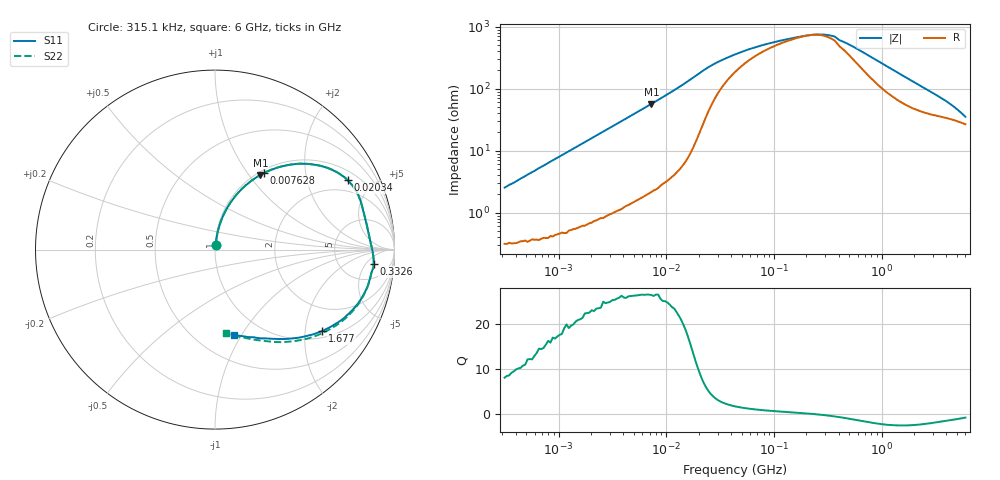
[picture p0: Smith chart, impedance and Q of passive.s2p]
# Hz S DB R 50
! S-Parameters data
! FREQ  dbS11  angS11  dbS21  angS21  dbS12  angS12  dbS22  angS22
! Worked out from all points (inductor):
!   202 points, 315.1 kHz to 6 GHz, reference 50 ohm
!   read as one part in series: L = 1.26 uH near 330.9 kHz
!   highest Q = 26.5 at 7.263 MHz (marker M1), where L = 1.25 uH
!   self-resonance near 219.7 MHz
!   S11 on the Smith chart (normalised r, x): 315.1 kHz: 1.01, +0.05; 7.628 MHz: 1.05, +1.19; 20.34 MHz: 1.40, +3.56; 332.6 MHz: 11, -8; 1.677 GHz: 1.19, -2.46; 6 GHz: 0.75, -0.93
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315074.7  -32.01 81.2  -0.03 -1.5  -0.03 -1.4  -31.97 81.5
761506.4  -24.43 82.7  -0.05 -3.4  -0.05 -3.4  -24.41 82.7
1668588  -17.76 79.9  -0.13 -7.4  -0.12 -7.4  -17.74 79.9
3839875  -10.91 71.2  -0.47 -16.5  -0.46 -16.5  -10.90 71.2
7263000  -6.26 58.7  -1.36 -29.1  -1.35 -29.0  -6.25 58.7
7627958  -5.94 57.5  -1.47 -30.3  -1.47 -30.2  -5.93 57.5
8413811  -5.32 55.0  -1.72 -32.8  -1.72 -32.7  -5.31 55.0
1.373773e7  -2.76 40.6  -3.71 -46.7  -3.71 -46.7  -2.75 40.5
2.033541e7  -1.57 27.6  -6.59 -56.2  -6.60 -56.2  -1.56 27.6
2.729017e7  -1.36 19.4  -9.20 -56.0  -9.20 -56.0  -1.36 19.4
4.455829e7  -1.36 11.2  -12.56 -46.6  -12.58 -46.7  -1.36 11.2
9.296338e7  -1.28 4.3  -16.01 -28.7  -16.02 -28.7  -1.27 4.3
2.246839e8  -1.10 -1.6  -18.48 -0.4  -18.49 -0.4  -1.10 -1.7
3.325905e8  -1.04 -5.2  -18.24 19.5  -18.25 19.6  -1.04 -5.4
3.668549e8  -1.03 -6.3  -17.89 24.6  -17.90 24.7  -1.03 -6.5
6.60695e8  -1.22 -15.7  -13.24 42.7  -13.24 42.7  -1.22 -16.4
1.189893e9  -1.82 -28.3  -8.87 40.0  -8.87 40.0  -1.81 -29.7
1.677078e9  -2.51 -37.3  -6.87 32.2  -6.88 32.2  -2.52 -39.2
2.250643e9  -3.28 -45.4  -5.59 23.3  -5.58 23.4  -3.32 -48.1
3.17214e9  -4.33 -55.0  -4.54 11.5  -4.54 11.5  -4.40 -58.4
4.47093e9  -5.44 -66.0  -3.85 -1.6  -3.85 -1.6  -5.52 -69.5
6e9  -6.25 -77.3  -3.33 -14.7  -3.34 -14.7  -6.55 -82.8
